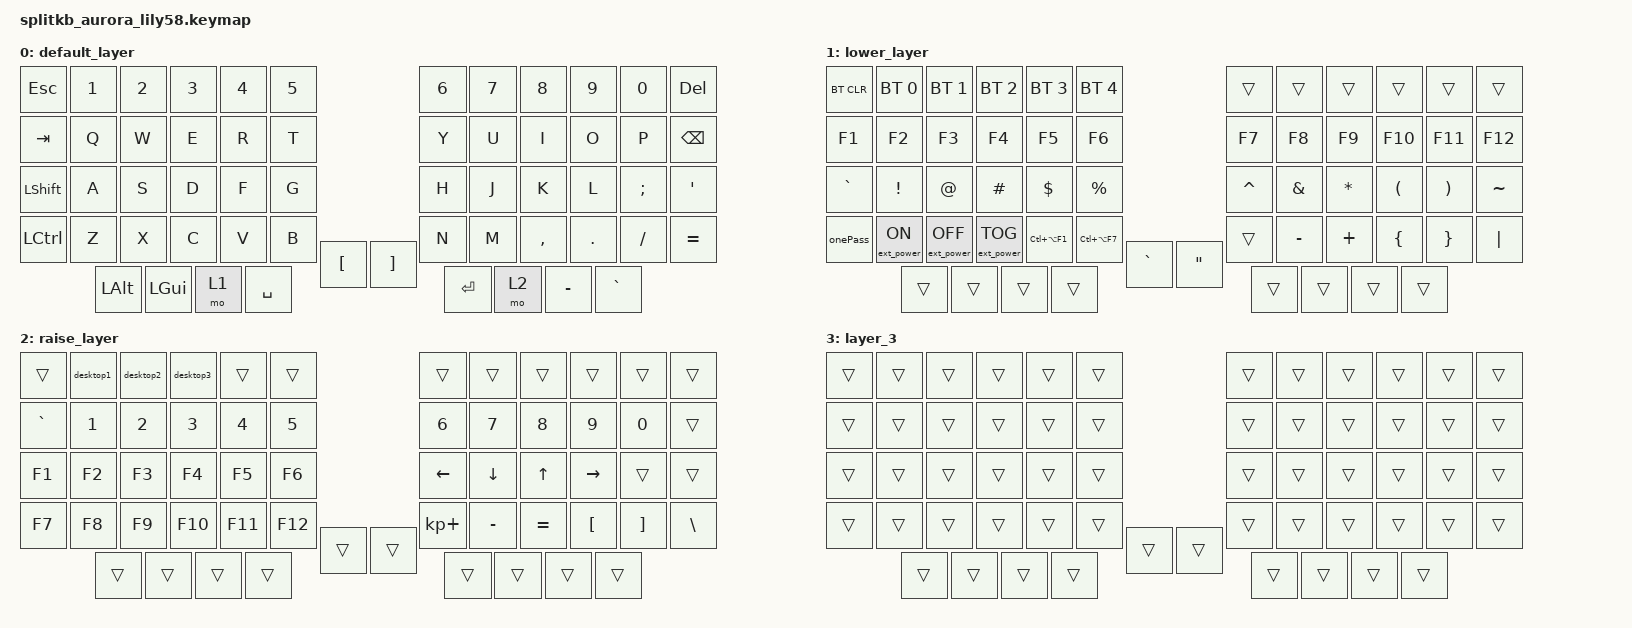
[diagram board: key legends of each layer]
/*
 * Copyright (c) 2022 The ZMK Contributors
 *
 * SPDX-License-Identifier: MIT
 */

#include <behaviors.dtsi>
#include <dt-bindings/zmk/bt.h>
#include <dt-bindings/zmk/ext_power.h>
#include <dt-bindings/zmk/keys.h>

/ {
    macros {
        onePass: onePass {
            compatible = "zmk,behavior-macro";
            #binding-cells = <0>;
            bindings = <&kp LC(LA(SPACE))>;
            label = "ONEPASS";
        };

        desktop1: desktop1 {
            compatible = "zmk,behavior-macro";
            #binding-cells = <0>;
            bindings = <&kp LCTRL &kp LEFT_GUI &kp NUMBER_1>;
            label = "DESKTOP1";
        };

        desktop2: desktop2 {
            compatible = "zmk,behavior-macro";
            #binding-cells = <0>;
            bindings = <&kp LCTRL &kp LEFT_GUI &kp NUMBER_2>;
            label = "DESKTOP2";
        };

        desktop3: desktop3 {
            compatible = "zmk,behavior-macro";
            #binding-cells = <0>;
            bindings = <&kp LCTRL &kp LEFT_GUI &kp NUMBER_3>;
            label = "DESKTOP3";
        };
    };

    keymap {
        compatible = "zmk,keymap";

        default_layer {
            // ------------------------------------------------------------------------------------------------------------
            // |  ESC  |  1  |  2  |  3   |  4   |  5   |                   |  6   |  7    |  8    |  9   |   0   |   `   |
            // |  TAB  |  Q  |  W  |  E   |  R   |  T   |                   |  Y   |  U    |  I    |  O   |   P   |   -   |
            // |  CTRL |  A  |  S  |  D   |  F   |  G   |                   |  H   |  J    |  K    |  L   |   ;   |   '   |
            // | SHIFT |  Z  |  X  |  C   |  V   |  B   |   "["  |  |  "]"  |  N   |  M    |  ,    |  .   |   /   | SHIFT |
            //                     | ALT  | GUI  | LOWER|  SPACE |  | ENTER | RAISE| BSPC  | GUI   |

            bindings = <
&kp ESC     &kp N1  &kp N2  &kp N3    &kp N4    &kp N5                         &kp N6  &kp N7     &kp N8     &kp N9   &kp N0    &kp DELETE
&kp TAB     &kp Q   &kp W   &kp E     &kp R     &kp T                          &kp Y   &kp U      &kp I      &kp O    &kp P     &kp BACKSPACE
&kp LSHIFT  &kp A   &kp S   &kp D     &kp F     &kp G                          &kp H   &kp J      &kp K      &kp L    &kp SEMI  &kp SQT
&kp LCTRL   &kp Z   &kp X   &kp C     &kp V     &kp B   &kp LBKT     &kp RBKT  &kp N   &kp M      &kp COMMA  &kp DOT  &kp FSLH  &kp EQUAL
                            &kp LALT  &kp LGUI  &mo 1   &kp SPACE    &kp RET   &mo 2   &kp MINUS  &kp GRAVE
            >;
        };

        lower_layer {
            // ------------------------------------------------------------------------------------------------------------
            // | BTCLR | BT1 | BT2 |  BT3 |  BT4 |  BT5 |                   |      |       |       |      |       |       |
            // |  F1   |  F2 |  F3 |  F4  |  F5  |  F6  |                   |  F7  |  F8   |  F9   |  F10 |  F11  |  F12  |
            // |   `   |  !  |  @  |  #   |  $   |  %   |                   |  ^   |  &    |  *    |  (   |   )   |   ~   |
            // |       |     |     |      |      |      |        |  |       |      |  _    |  +    |  {   |   }   |  "|"  |
            //                     |      |      |      |        |  |       |      |       |       |

            bindings = <
&bt BT_CLR  &bt BT_SEL 0      &bt BT_SEL 1       &bt BT_SEL 2       &bt BT_SEL 3    &bt BT_SEL 4                          &trans     &trans     &trans    &trans    &trans    &trans
&kp F1      &kp F2            &kp F3             &kp F4             &kp F5          &kp F6                                &kp F7     &kp F8     &kp F9    &kp F10   &kp F11   &kp F12
&kp GRAVE   &kp EXCL          &kp AT             &kp HASH           &kp DOLLAR      &kp PRCNT                             &kp CARET  &kp AMPS   &kp STAR  &kp LPAR  &kp RPAR  &kp TILDE
&onePass    &ext_power EP_ON  &ext_power EP_OFF  &ext_power EP_TOG  &kp LC(LA(F1))  &kp LC(LA(F7))  &kp GRAVE    &kp DQT  &trans     &kp MINUS  &kp PLUS  &kp LBRC  &kp RBRC  &kp PIPE
                                                 &trans             &trans          &trans          &trans       &trans   &trans     &trans     &trans
            >;
        };

        raise_layer {
            // ------------------------------------------------------------------------------------------------------------
            // |       |     |     |      |      |      |                   |      |       |       |      |       |       |
            // |   `   |  1  |  2  |  3   |  4   |  5   |                   |  6   |   7   |   8   |  9   |   0   |       |
            // |   F1  |  F2 |  F3 |  F4  |  F5  |  F6  |                   |      |   <-  |   v   |  ^   |  ->   |       |
            // |   F7  |  F8 |  F9 |  F10 |  F11 |  F12 |        |  |       |  +   |   -   |   =   |  [   |   ]   |   \   |
            //                     |      |      |      |        |  |       |      |       |       |

            bindings = <
&trans     &desktop1  &desktop2  &desktop3  &trans   &trans                     &trans       &trans     &trans        &trans     &trans    &trans
&kp GRAVE  &kp N1     &kp N2     &kp N3     &kp N4   &kp N5                     &kp N6       &kp N7     &kp N8        &kp N9     &kp N0    &trans
&kp F1     &kp F2     &kp F3     &kp F4     &kp F5   &kp F6                     &kp LEFT     &kp DOWN   &kp UP_ARROW  &kp RIGHT  &trans    &trans
&kp F7     &kp F8     &kp F9     &kp F10    &kp F11  &kp F12  &trans    &trans  &kp KP_PLUS  &kp MINUS  &kp EQUAL     &kp LBKT   &kp RBKT  &kp BSLH
                                 &trans     &trans   &trans   &trans    &trans  &trans       &trans     &trans
            >;
        };

        layer_3 {
            bindings = <
&trans  &trans  &trans  &trans  &trans  &trans                    &trans  &trans  &trans  &trans  &trans  &trans
&trans  &trans  &trans  &trans  &trans  &trans                    &trans  &trans  &trans  &trans  &trans  &trans
&trans  &trans  &trans  &trans  &trans  &trans                    &trans  &trans  &trans  &trans  &trans  &trans
&trans  &trans  &trans  &trans  &trans  &trans  &trans    &trans  &trans  &trans  &trans  &trans  &trans  &trans
                        &trans  &trans  &trans  &trans    &trans  &trans  &trans  &trans
            >;
        };
    };
};
